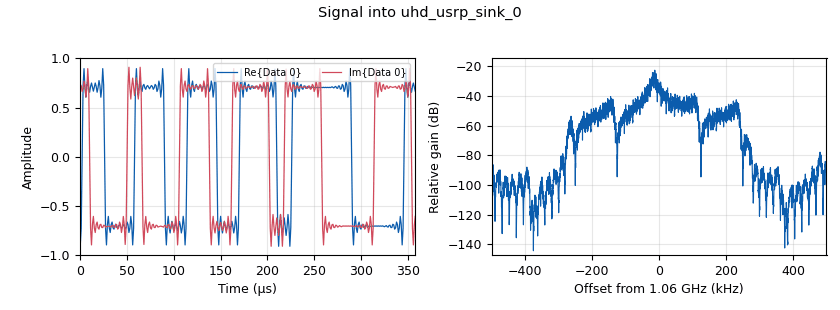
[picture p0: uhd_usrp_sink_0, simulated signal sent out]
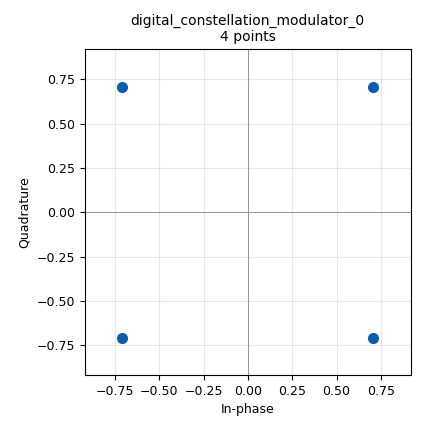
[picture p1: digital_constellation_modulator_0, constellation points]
<?xml version='1.0' encoding='utf-8'?>
<?grc format='1' created='3.7.10'?>
<flow_graph>
<block>
<key>options</key>
<param><key>id</key><value>Tx_bitstream</value></param>
<param><key>generate_options</key><value>no_gui</value></param>
</block>
<block>
<key>variable_constellation_rect</key>
<param><key>id</key><value>qpsk_const</value></param>
<param><key>const_points</key><value>[-1-1j, -1+1j, 1+1j, 1-1j]</value></param>
<param><key>imag_sect</key><value>2</value></param>
<param><key>real_sect</key><value>2</value></param>
<param><key>rot_sym</key><value>4</value></param>
<param><key>sym_map</key><value>[0, 1, 3, 2]</value></param>
<param><key>w_imag_sect</key><value>1</value></param>
<param><key>w_real_sect</key><value>1</value></param>
</block>
<block>
<key>variable</key>
<param><key>id</key><value>samp_rate</value></param>
<param><key>value</key><value>1e6</value></param>
</block>
<block>
<key>variable</key>
<param><key>id</key><value>sps</value></param>
<param><key>value</key><value>2</value></param>
</block>
<block>
<key>analog_random_source_x</key>
<param><key>id</key><value>analog_random_source_x_0</value></param>
<param><key>max</key><value>2</value></param>
<param><key>min</key><value>0</value></param>
<param><key>num_samps</key><value>1000</value></param>
<param><key>type</key><value>byte</value></param>
<param><key>repeat</key><value>True</value></param>
</block>
<block>
<key>digital_constellation_modulator</key>
<param><key>id</key><value>digital_constellation_modulator_0</value></param>
<param><key>constellation</key><value>qpsk_const</value></param>
<param><key>differential</key><value>True</value></param>
<param><key>excess_bw</key><value>0.10</value></param>
<param><key>samples_per_symbol</key><value>sps</value></param>
</block>
<block>
<key>uhd_usrp_sink</key>
<param><key>id</key><value>uhd_usrp_sink_0</value></param>
<param><key>ant0</key><value>TX0</value></param>
<param><key>center_freq0</key><value>1060e6</value></param>
<param><key>norm_gain0</key><value>False</value></param>
<param><key>gain0</key><value>30</value></param>
<param><key>clock_rate</key><value>0.0</value></param>
<param><key>dev_args</key><value>""</value></param>
<param><key>type</key><value>fc32</value></param>
<param><key>sd_spec0</key><value>A:B</value></param>
<param><key>samp_rate</key><value>samp_rate</value></param>
<param><key>hide_cmd_port</key><value>False</value></param>
<param><key>hide_lo_controls</key><value>True</value></param>
<param><key>sync</key><value></value></param>
<param><key>len_tag_name</key><value></value></param>
</block>
<connection><source_block_id>analog_random_source_x_0</source_block_id><sink_block_id>digital_constellation_modulator_0</sink_block_id><source_key>0</source_key><sink_key>0</sink_key></connection>
<connection><source_block_id>digital_constellation_modulator_0</source_block_id><sink_block_id>uhd_usrp_sink_0</sink_block_id><source_key>0</source_key><sink_key>0</sink_key></connection>
</flow_graph>
